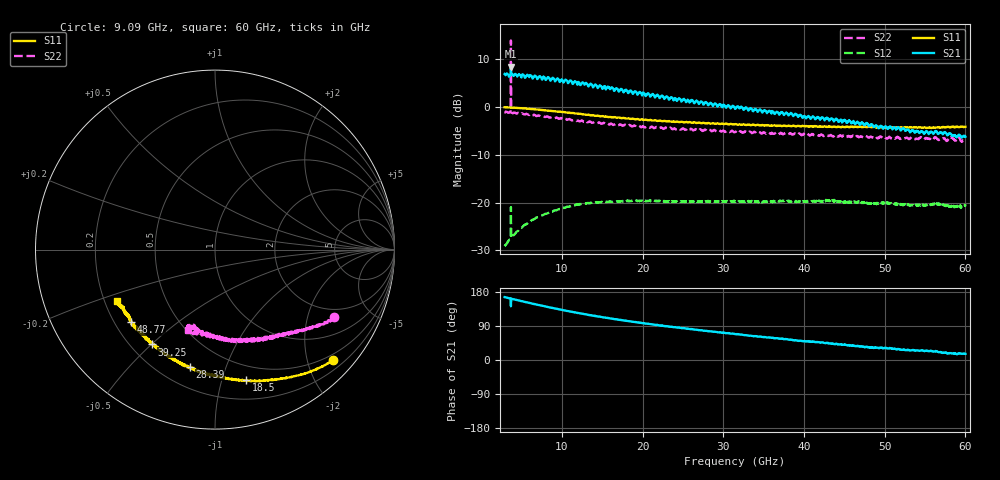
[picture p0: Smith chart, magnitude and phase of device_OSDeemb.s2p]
!Correction: S11(Full 2 Port(1,2))
!S21(Full 2 Port(1,2))
!S12(Full 2 Port(1,2))
!S22(Full 2 Port(1,2))
!S2P File: Measurements: S11, S21, S12, S22:
! Created with skrf 1.8.0 (http://scikit-rf.org).
# Hz S RI R 50.0
!freq ReS11 ImS11 ReS21 ImS21 ReS12 ImS12 ReS22 ImS22
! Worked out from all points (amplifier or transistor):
!   1536 points, 2.917 GHz to 60 GHz, reference 50 ohm
!   highest |S21| = 8.4 dB at 3.698 GHz (marker M1)
!   |S21| within 3 dB of that: start of sweep to 9.145 GHz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
!   unconditionally stable (mu >= 1): 15.4459 GHz to 15.4615 GHz; 15.83 GHz to end of sweep
!   at 12.44 GHz: K = 0.75, MSG = 12.6 dB, |S12| = -20.3 dB
!   at 31.48 GHz: K = 2.24, MAG = 3.4 dB, |S12| = -19.7 dB
!   at 60 GHz: K = 5.21, MAG = -3.1 dB, |S12| = -20.3 dB
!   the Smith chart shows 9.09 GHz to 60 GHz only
!   S11 on the Smith chart (normalised r, x): 9.09 GHz: 0.38, -2.47; 18.5 GHz: 0.36, -1.20; 28.39 GHz: 0.32, -0.76; 39.25 GHz: 0.29, -0.50; 48.77 GHz: 0.27, -0.35; 60 GHz: 0.25, -0.23
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2.917188e9  0.9588 -0.2519  -2.141 0.5318  0.0109 0.0333  0.8632 -0.1753
3.400625e9  0.9431 -0.2899  -2.067 0.6173  0.0143 0.0373  0.8472 -0.2006
3.437812e9  0.9426 -0.2907  -2.009 0.6082  0.0147 0.0375  0.8478 -0.2016
3.698125e9  0.9302 -0.3246  -2.07 1.629  0.031 0.0842  0.1799 -4.938
3.958438e9  0.9228 -0.333  -2.038 0.7174  0.0189 0.0414  0.8278 -0.2273
3.995625e9  0.923 -0.3335  -1.995 0.7078  0.0187 0.0415  0.8298 -0.2271
5.631875e9  0.8482 -0.4491  -1.866 0.9762  0.0322 0.0503  0.7943 -0.2907
5.966562e9  0.8327 -0.4682  -1.781 1.006  0.0356 0.052  0.7655 -0.3028
6.226875e9  0.8158 -0.4872  -1.811 1.071  0.038 0.0528  0.7553 -0.3114
9.090312e9  0.6567 -0.6172  -1.397 1.336  0.061 0.0559  0.662 -0.3776
1.243719e10  0.4661 -0.7006  -0.9402 1.476  0.0832 0.0488  0.5829 -0.4235
1.280906e10  0.4486 -0.7047  -0.8791 1.464  0.0851 0.0473  0.5668 -0.4267
1.597e10  0.2966 -0.729  -0.5163 1.439  0.0965 0.0352  0.4804 -0.4455
1.849875e10  0.1747 -0.7276  -0.3126 1.447  0.1005 0.0261  0.4429 -0.4615
2.195719e10  0.051 -0.7136  -0.0459 1.309  0.1024 0.0143  0.3672 -0.4708
2.839062e10  -0.1409 -0.6532  0.2671 1.07  0.1036 0.00359  0.2826 -0.4987
3.147719e10  -0.2048 -0.6271  0.3499 0.887  0.1029 -0.00349  0.2224 -0.499
3.924938e10  -0.3494 -0.5282  0.5023 0.6085  0.1014 -0.0147  0.1065 -0.5034
4.099719e10  -0.3768 -0.4986  0.5212 0.5795  0.1022 -0.018  0.0904 -0.5141
4.876938e10  -0.4698 -0.4025  0.5295 0.3288  0.0933 -0.0309  -0.0134 -0.4882
5.051719e10  -0.478 -0.3746  0.5198 0.3078  0.0936 -0.0343  -0.0385 -0.4825
6e10  -0.5486 -0.288  0.4686 0.1353  0.087 -0.0414  -0.149 -0.4475
